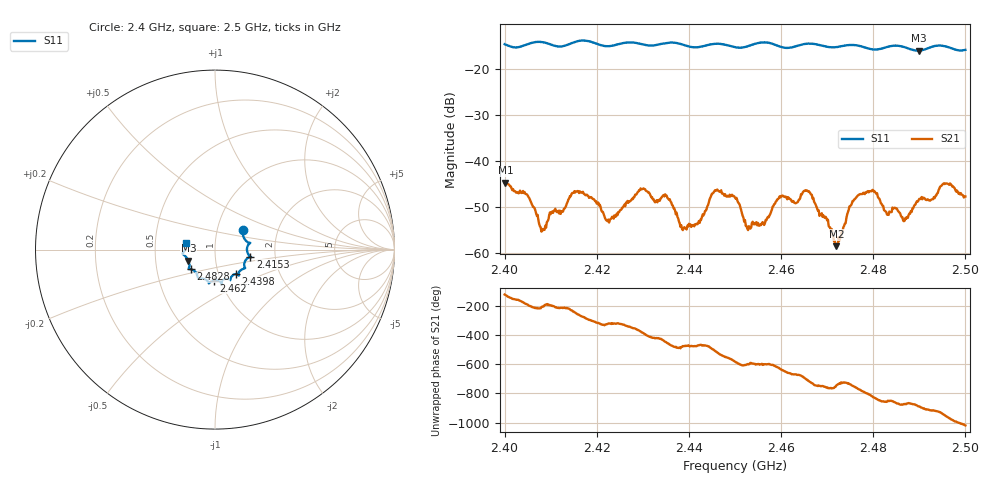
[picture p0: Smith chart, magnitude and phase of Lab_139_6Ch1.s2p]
# Hz S RI R 50
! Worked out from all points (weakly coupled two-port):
!   601 points, 2.4 GHz to 2.5 GHz, reference 50 ohm
!   highest |S21| = -44.75 dB at 2.4002 GHz (marker M1); lowest = -58.6 dB at 2.472 GHz (marker M2)
!   lowest |S11| = -15.9 dB at 2.4898 GHz (marker M3), VSWR 1.38, Z = 36.9 - j4.64 ohm
!   |S11| at or under -10 dB: start of sweep to end of sweep
!   S12 and S22 are empty: the file has one direction only
!   S11 on the Smith chart (normalised r, x): 2.4 GHz: 1.33, +0.29; 2.4153 GHz: 1.48, -0.12; 2.4398 GHz: 1.21, -0.34; 2.462 GHz: 0.93, -0.33; 2.4828 GHz: 0.74, -0.17; 2.5 GHz: 0.72, +0.06
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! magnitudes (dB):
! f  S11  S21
! 2.4 GHz  -14.5  -44.8
! 2.4002 GHz  -14.6  -44.8
! 2.4048 GHz  -14.6  -47.3
! 2.4082 GHz  -14.0  -54.8
! 2.4153 GHz  -14.0  -46.9
! 2.4167 GHz  -13.7  -46.9
! 2.4223 GHz  -14.9  -53.1
! 2.4297 GHz  -14.4  -46.2
! 2.4333 GHz  -14.6  -48.6
! 2.4398 GHz  -14.9  -54.3
! 2.4457 GHz  -14.4  -46.4
! 2.45 GHz  -15.1  -48.0
! 2.453 GHz  -14.9  -54.2
! 2.462 GHz  -15.2  -48.3
! 2.4667 GHz  -14.4  -47.4
! 2.472 GHz  -15.1  -58.6
! 2.4768 GHz  -14.8  -47.4
! 2.4828 GHz  -15.2  -51.2
! 2.4833 GHz  -15.0  -51.8
! 2.4898 GHz  -15.9  -48.5
! 2.4957 GHz  -15.0  -44.9
! 2.5 GHz  -15.7  -47.7
